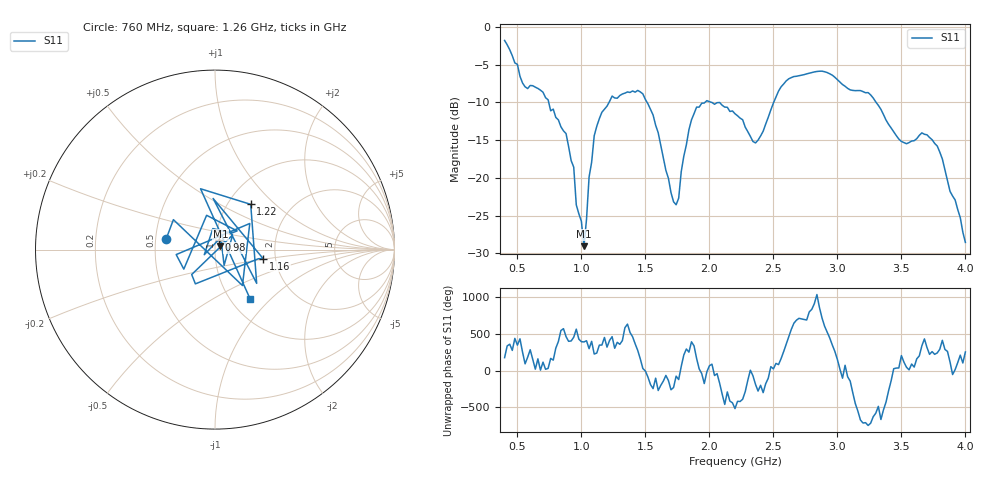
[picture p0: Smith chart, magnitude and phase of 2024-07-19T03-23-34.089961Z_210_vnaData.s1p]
!Created with skrf (http://scikit-rf.org).
# Hz S RI R 50.0
!freq ReS11 ImS11
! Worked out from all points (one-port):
!   181 points, 400 MHz to 4 GHz, reference 50 ohm
!   lowest |S11| = -29.0 dB at 1.02 GHz (marker M1), VSWR 1.07, Z = 53.1 + j1.98 ohm
!   |S11| at or under -10 dB: 744.7 MHz to 1.216 GHz (471.1 MHz wide, 48.1 % of centre); 2.018 GHz to 2.502 GHz (483.7 MHz wide, 21.4 % of centre); 3.303 GHz to end of sweep (the widest 3 of 4)
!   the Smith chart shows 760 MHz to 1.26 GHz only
!   S11 on the Smith chart (normalised r, x): 760 MHz: 0.57, +0.07; 980 MHz: 1.03, +0.11; 1.16 GHz: 1.72, -0.18; 1.22 GHz: 1.27, +0.71; 1.26 GHz: 1.23, -0.76
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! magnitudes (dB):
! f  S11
! 400 MHz  -1.8
! 540 MHz  -7.4
! 760 MHz  -11.1
! 860 MHz  -13.8
! 940 MHz  -18.6
! 960 MHz  -23.6
! 980 MHz  -24.7
! 1.02 GHz  -29.0
! 1.06 GHz  -19.9
! 1.1 GHz  -14.4
! 1.16 GHz  -11.3
! 1.22 GHz  -9.9
! 1.26 GHz  -9.4
! 1.3 GHz  -9.1
! 1.48 GHz  -8.9
! 1.6 GHz  -14.0
! 1.72 GHz  -23.2
! 1.76 GHz  -22.7
! 1.84 GHz  -13.6
! 1.9 GHz  -10.6
! 2.2 GHz  -11.5
! 2.36 GHz  -15.4
! 2.66 GHz  -6.6
! 3.1 GHz  -8.3
! 3.24 GHz  -8.7
! 3.56 GHz  -15.3
! 3.78 GHz  -15.8
! 4 GHz  -28.5
